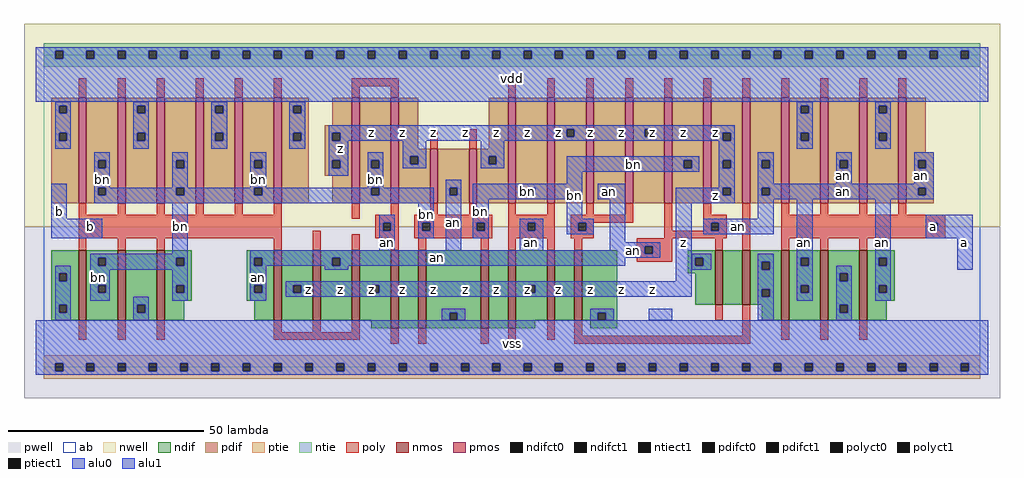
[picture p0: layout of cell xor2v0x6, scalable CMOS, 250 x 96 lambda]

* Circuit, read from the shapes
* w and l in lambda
.subckt xor2v0x6 a an b bn vdd vss z
M1 bn b vss vss nfet w=18 l=2 m=3
M2 z b an vss nfet w=18 l=2 m=3
M3 n1 an z vss nfet w=20 l=2
M4 vss bn n1 vss nfet w=20 l=2
M5 n2 bn vss vss nfet w=20 l=2
M6 z an n2 vss nfet w=20 l=2
M7 n3 an z vss nfet w=18 l=2
M8 vss bn n3 vss nfet w=18 l=2
M9 n4 an z vss nfet w=14 l=2
M10 vss bn n4 vss nfet w=14 l=2
M11 an a vss vss nfet w=18 l=2 m=3
M12 bn b vdd vdd pfet w=27 l=2 m=6
M13 bn an z vdd pfet w=27 l=2 m=6
M14 an bn z vdd pfet w=14 l=2 m=2
M15 an bn z vdd pfet w=27 l=2 m=3
M16 vdd a an vdd pfet w=27 l=2 m=4
.ends

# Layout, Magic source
magic
tech scmos
<< ab >>
rect 0 0 240 80
<< nwell >>
rect -5 36 245 88
<< pwell >>
rect -5 -8 245 36
<< poly >>
rect 9 69 11 74
rect 19 69 21 74
rect 29 69 31 74
rect 39 69 41 74
rect 49 69 51 74
rect 59 69 61 74
rect 79 72 91 74
rect 79 69 81 72
rect 89 69 91 72
rect 119 69 121 74
rect 129 69 131 74
rect 139 69 141 74
rect 149 69 151 74
rect 159 69 161 74
rect 169 69 171 74
rect 179 69 181 74
rect 189 69 191 74
rect 199 69 201 74
rect 209 69 211 74
rect 219 69 221 74
rect 99 56 101 61
rect 109 56 111 61
rect 9 39 11 42
rect 19 39 21 42
rect 29 39 31 42
rect 39 39 41 42
rect 49 39 51 42
rect 59 39 61 42
rect 9 37 61 39
rect 79 38 81 42
rect 89 39 91 42
rect 99 39 101 42
rect 109 39 111 42
rect 119 39 121 42
rect 129 39 131 42
rect 139 39 141 42
rect 149 39 151 42
rect 9 35 11 37
rect 13 35 61 37
rect 85 37 91 39
rect 85 35 87 37
rect 89 35 91 37
rect 9 33 61 35
rect 9 30 11 33
rect 19 30 21 33
rect 29 30 31 33
rect 59 30 61 33
rect 69 30 71 35
rect 79 30 81 34
rect 85 33 91 35
rect 95 37 115 39
rect 95 35 97 37
rect 99 35 111 37
rect 113 35 115 37
rect 95 33 115 35
rect 119 37 131 39
rect 119 35 124 37
rect 126 35 131 37
rect 119 33 131 35
rect 135 37 151 39
rect 135 35 137 37
rect 139 35 141 37
rect 135 33 141 35
rect 159 35 161 42
rect 169 39 171 42
rect 169 37 175 39
rect 169 35 171 37
rect 173 35 175 37
rect 159 33 175 35
rect 89 30 91 33
rect 96 30 98 33
rect 112 30 114 33
rect 119 30 121 33
rect 129 30 131 33
rect 136 30 138 33
rect 152 31 161 33
rect 9 7 11 12
rect 19 7 21 12
rect 29 7 31 12
rect 59 9 61 12
rect 69 9 71 12
rect 79 9 81 12
rect 152 29 154 31
rect 156 29 161 31
rect 172 30 174 33
rect 179 30 181 42
rect 189 39 191 42
rect 199 39 201 42
rect 209 39 211 42
rect 219 39 221 42
rect 189 37 231 39
rect 189 35 227 37
rect 229 35 231 37
rect 189 33 231 35
rect 189 30 191 33
rect 199 30 201 33
rect 209 30 211 33
rect 152 27 161 29
rect 172 12 174 16
rect 59 7 81 9
rect 89 6 91 10
rect 96 6 98 10
rect 112 6 114 10
rect 119 6 121 10
rect 129 7 131 12
rect 136 8 138 12
rect 179 8 181 16
rect 136 6 181 8
rect 189 7 191 12
rect 199 7 201 12
rect 209 7 211 12
<< ndif >>
rect 2 24 9 30
rect 2 22 4 24
rect 6 22 9 24
rect 2 16 9 22
rect 2 14 4 16
rect 6 14 9 16
rect 2 12 9 14
rect 11 28 19 30
rect 11 26 14 28
rect 16 26 19 28
rect 11 21 19 26
rect 11 19 14 21
rect 16 19 19 21
rect 11 12 19 19
rect 21 16 29 30
rect 21 14 24 16
rect 26 14 29 16
rect 21 12 29 14
rect 31 28 38 30
rect 31 26 34 28
rect 36 26 38 28
rect 31 21 38 26
rect 31 19 34 21
rect 36 19 38 21
rect 31 17 38 19
rect 52 28 59 30
rect 52 26 54 28
rect 56 26 59 28
rect 52 21 59 26
rect 52 19 54 21
rect 56 19 59 21
rect 52 17 59 19
rect 31 12 36 17
rect 54 12 59 17
rect 61 21 69 30
rect 61 19 64 21
rect 66 19 69 21
rect 61 12 69 19
rect 71 28 79 30
rect 71 26 74 28
rect 76 26 79 28
rect 71 12 79 26
rect 81 21 89 30
rect 81 19 84 21
rect 86 19 89 21
rect 81 12 89 19
rect 84 10 89 12
rect 91 10 96 30
rect 98 14 112 30
rect 98 12 104 14
rect 106 12 112 14
rect 98 10 112 12
rect 114 10 119 30
rect 121 21 129 30
rect 121 19 124 21
rect 126 19 129 21
rect 121 12 129 19
rect 131 12 136 30
rect 138 14 147 30
rect 165 28 172 30
rect 165 26 167 28
rect 169 26 172 28
rect 165 24 172 26
rect 167 16 172 24
rect 174 16 179 30
rect 181 27 189 30
rect 181 25 184 27
rect 186 25 189 27
rect 181 20 189 25
rect 181 18 184 20
rect 186 18 189 20
rect 181 16 189 18
rect 138 12 142 14
rect 144 12 147 14
rect 121 10 126 12
rect 140 10 147 12
rect 184 12 189 16
rect 191 28 199 30
rect 191 26 194 28
rect 196 26 199 28
rect 191 21 199 26
rect 191 19 194 21
rect 196 19 199 21
rect 191 12 199 19
rect 201 24 209 30
rect 201 22 204 24
rect 206 22 209 24
rect 201 16 209 22
rect 201 14 204 16
rect 206 14 209 16
rect 201 12 209 14
rect 211 28 218 30
rect 211 26 214 28
rect 216 26 218 28
rect 211 21 218 26
rect 211 19 214 21
rect 216 19 218 21
rect 211 17 218 19
rect 211 12 216 17
<< pdif >>
rect 2 67 9 69
rect 2 65 4 67
rect 6 65 9 67
rect 2 60 9 65
rect 2 58 4 60
rect 6 58 9 60
rect 2 42 9 58
rect 11 53 19 69
rect 11 51 14 53
rect 16 51 19 53
rect 11 46 19 51
rect 11 44 14 46
rect 16 44 19 46
rect 11 42 19 44
rect 21 67 29 69
rect 21 65 24 67
rect 26 65 29 67
rect 21 60 29 65
rect 21 58 24 60
rect 26 58 29 60
rect 21 42 29 58
rect 31 53 39 69
rect 31 51 34 53
rect 36 51 39 53
rect 31 46 39 51
rect 31 44 34 46
rect 36 44 39 46
rect 31 42 39 44
rect 41 67 49 69
rect 41 65 44 67
rect 46 65 49 67
rect 41 60 49 65
rect 41 58 44 60
rect 46 58 49 60
rect 41 42 49 58
rect 51 53 59 69
rect 51 51 54 53
rect 56 51 59 53
rect 51 46 59 51
rect 51 44 54 46
rect 56 44 59 46
rect 51 42 59 44
rect 61 67 68 69
rect 61 65 64 67
rect 66 65 68 67
rect 61 60 68 65
rect 74 62 79 69
rect 61 58 64 60
rect 66 58 68 60
rect 61 42 68 58
rect 72 60 79 62
rect 72 58 74 60
rect 76 58 79 60
rect 72 53 79 58
rect 72 51 74 53
rect 76 51 79 53
rect 72 49 79 51
rect 74 42 79 49
rect 81 53 89 69
rect 81 51 84 53
rect 86 51 89 53
rect 81 46 89 51
rect 81 44 84 46
rect 86 44 89 46
rect 81 42 89 44
rect 91 56 96 69
rect 114 56 119 69
rect 91 54 99 56
rect 91 52 94 54
rect 96 52 99 54
rect 91 42 99 52
rect 101 46 109 56
rect 101 44 104 46
rect 106 44 109 46
rect 101 42 109 44
rect 111 54 119 56
rect 111 52 114 54
rect 116 52 119 54
rect 111 42 119 52
rect 121 46 129 69
rect 121 44 124 46
rect 126 44 129 46
rect 121 42 129 44
rect 131 61 139 69
rect 131 59 134 61
rect 136 59 139 61
rect 131 42 139 59
rect 141 46 149 69
rect 141 44 144 46
rect 146 44 149 46
rect 141 42 149 44
rect 151 61 159 69
rect 151 59 154 61
rect 156 59 159 61
rect 151 42 159 59
rect 161 53 169 69
rect 161 51 164 53
rect 166 51 169 53
rect 161 42 169 51
rect 171 60 179 69
rect 171 58 174 60
rect 176 58 179 60
rect 171 53 179 58
rect 171 51 174 53
rect 176 51 179 53
rect 171 46 179 51
rect 171 44 174 46
rect 176 44 179 46
rect 171 42 179 44
rect 181 53 189 69
rect 181 51 184 53
rect 186 51 189 53
rect 181 46 189 51
rect 181 44 184 46
rect 186 44 189 46
rect 181 42 189 44
rect 191 67 199 69
rect 191 65 194 67
rect 196 65 199 67
rect 191 60 199 65
rect 191 58 194 60
rect 196 58 199 60
rect 191 42 199 58
rect 201 53 209 69
rect 201 51 204 53
rect 206 51 209 53
rect 201 46 209 51
rect 201 44 204 46
rect 206 44 209 46
rect 201 42 209 44
rect 211 67 219 69
rect 211 65 214 67
rect 216 65 219 67
rect 211 60 219 65
rect 211 58 214 60
rect 216 58 219 60
rect 211 42 219 58
rect 221 55 226 69
rect 221 53 228 55
rect 221 51 224 53
rect 226 51 228 53
rect 221 46 228 51
rect 221 44 224 46
rect 226 44 228 46
rect 221 42 228 44
<< alu1 >>
rect -2 81 242 82
rect -2 79 3 81
rect 5 79 11 81
rect 13 79 19 81
rect 21 79 27 81
rect 29 79 35 81
rect 37 79 43 81
rect 45 79 51 81
rect 53 79 59 81
rect 61 79 67 81
rect 69 79 75 81
rect 77 79 83 81
rect 85 79 91 81
rect 93 79 99 81
rect 101 79 107 81
rect 109 79 115 81
rect 117 79 123 81
rect 125 79 131 81
rect 133 79 139 81
rect 141 79 147 81
rect 149 79 155 81
rect 157 79 163 81
rect 165 79 171 81
rect 173 79 179 81
rect 181 79 187 81
rect 189 79 195 81
rect 197 79 203 81
rect 205 79 211 81
rect 213 79 219 81
rect 221 79 227 81
rect 229 79 235 81
rect 237 79 242 81
rect -2 68 242 79
rect 73 61 177 62
rect 73 60 134 61
rect 73 58 74 60
rect 76 59 134 60
rect 136 59 154 61
rect 156 60 177 61
rect 156 59 174 60
rect 76 58 174 59
rect 176 58 177 60
rect 2 38 6 47
rect 73 53 78 58
rect 73 51 74 53
rect 76 51 78 53
rect 73 49 78 51
rect 92 54 98 58
rect 92 52 94 54
rect 96 52 98 54
rect 92 51 98 52
rect 112 54 118 58
rect 112 52 114 54
rect 116 52 118 54
rect 112 51 118 52
rect 173 53 177 58
rect 173 51 174 53
rect 176 51 177 53
rect 2 37 15 38
rect 2 35 11 37
rect 13 35 15 37
rect 2 33 15 35
rect 173 46 177 51
rect 162 44 174 46
rect 176 44 177 46
rect 162 42 177 44
rect 162 22 166 42
rect 62 21 166 22
rect 62 19 64 21
rect 66 19 84 21
rect 86 19 124 21
rect 126 19 166 21
rect 62 18 166 19
rect 226 37 238 39
rect 226 35 227 37
rect 229 35 238 37
rect 226 33 238 35
rect 234 25 238 33
rect -2 1 242 12
rect -2 -1 3 1
rect 5 -1 11 1
rect 13 -1 19 1
rect 21 -1 27 1
rect 29 -1 35 1
rect 37 -1 43 1
rect 45 -1 51 1
rect 53 -1 59 1
rect 61 -1 67 1
rect 69 -1 75 1
rect 77 -1 83 1
rect 85 -1 91 1
rect 93 -1 99 1
rect 101 -1 107 1
rect 109 -1 115 1
rect 117 -1 123 1
rect 125 -1 131 1
rect 133 -1 139 1
rect 141 -1 147 1
rect 149 -1 155 1
rect 157 -1 163 1
rect 165 -1 171 1
rect 173 -1 179 1
rect 181 -1 187 1
rect 189 -1 195 1
rect 197 -1 203 1
rect 205 -1 211 1
rect 213 -1 219 1
rect 221 -1 227 1
rect 229 -1 235 1
rect 237 -1 242 1
rect -2 -2 242 -1
<< ptie >>
rect 0 1 240 3
rect 0 -1 3 1
rect 5 -1 11 1
rect 13 -1 19 1
rect 21 -1 27 1
rect 29 -1 35 1
rect 37 -1 43 1
rect 45 -1 51 1
rect 53 -1 59 1
rect 61 -1 67 1
rect 69 -1 75 1
rect 77 -1 83 1
rect 85 -1 91 1
rect 93 -1 99 1
rect 101 -1 107 1
rect 109 -1 115 1
rect 117 -1 123 1
rect 125 -1 131 1
rect 133 -1 139 1
rect 141 -1 147 1
rect 149 -1 155 1
rect 157 -1 163 1
rect 165 -1 171 1
rect 173 -1 179 1
rect 181 -1 187 1
rect 189 -1 195 1
rect 197 -1 203 1
rect 205 -1 211 1
rect 213 -1 219 1
rect 221 -1 227 1
rect 229 -1 235 1
rect 237 -1 240 1
rect 0 -3 240 -1
<< ntie >>
rect 0 81 240 83
rect 0 79 3 81
rect 5 79 11 81
rect 13 79 19 81
rect 21 79 27 81
rect 29 79 35 81
rect 37 79 43 81
rect 45 79 51 81
rect 53 79 59 81
rect 61 79 67 81
rect 69 79 75 81
rect 77 79 83 81
rect 85 79 91 81
rect 93 79 99 81
rect 101 79 107 81
rect 109 79 115 81
rect 117 79 123 81
rect 125 79 131 81
rect 133 79 139 81
rect 141 79 147 81
rect 149 79 155 81
rect 157 79 163 81
rect 165 79 171 81
rect 173 79 179 81
rect 181 79 187 81
rect 189 79 195 81
rect 197 79 203 81
rect 205 79 211 81
rect 213 79 219 81
rect 221 79 227 81
rect 229 79 235 81
rect 237 79 240 81
rect 0 77 240 79
<< nmos >>
rect 9 12 11 30
rect 19 12 21 30
rect 29 12 31 30
rect 59 12 61 30
rect 69 12 71 30
rect 79 12 81 30
rect 89 10 91 30
rect 96 10 98 30
rect 112 10 114 30
rect 119 10 121 30
rect 129 12 131 30
rect 136 12 138 30
rect 172 16 174 30
rect 179 16 181 30
rect 189 12 191 30
rect 199 12 201 30
rect 209 12 211 30
<< pmos >>
rect 9 42 11 69
rect 19 42 21 69
rect 29 42 31 69
rect 39 42 41 69
rect 49 42 51 69
rect 59 42 61 69
rect 79 42 81 69
rect 89 42 91 69
rect 99 42 101 56
rect 109 42 111 56
rect 119 42 121 69
rect 129 42 131 69
rect 139 42 141 69
rect 149 42 151 69
rect 159 42 161 69
rect 169 42 171 69
rect 179 42 181 69
rect 189 42 191 69
rect 199 42 201 69
rect 209 42 211 69
rect 219 42 221 69
<< polyct0 >>
rect 87 35 89 37
rect 97 35 99 37
rect 111 35 113 37
rect 124 35 126 37
rect 137 35 139 37
rect 171 35 173 37
rect 154 29 156 31
<< polyct1 >>
rect 11 35 13 37
rect 227 35 229 37
<< ndifct0 >>
rect 4 22 6 24
rect 4 14 6 16
rect 14 26 16 28
rect 14 19 16 21
rect 24 14 26 16
rect 34 26 36 28
rect 34 19 36 21
rect 54 26 56 28
rect 54 19 56 21
rect 74 26 76 28
rect 104 12 106 14
rect 167 26 169 28
rect 184 25 186 27
rect 184 18 186 20
rect 142 12 144 14
rect 194 26 196 28
rect 194 19 196 21
rect 204 22 206 24
rect 204 14 206 16
rect 214 26 216 28
rect 214 19 216 21
<< ndifct1 >>
rect 64 19 66 21
rect 84 19 86 21
rect 124 19 126 21
<< ntiect1 >>
rect 3 79 5 81
rect 11 79 13 81
rect 19 79 21 81
rect 27 79 29 81
rect 35 79 37 81
rect 43 79 45 81
rect 51 79 53 81
rect 59 79 61 81
rect 67 79 69 81
rect 75 79 77 81
rect 83 79 85 81
rect 91 79 93 81
rect 99 79 101 81
rect 107 79 109 81
rect 115 79 117 81
rect 123 79 125 81
rect 131 79 133 81
rect 139 79 141 81
rect 147 79 149 81
rect 155 79 157 81
rect 163 79 165 81
rect 171 79 173 81
rect 179 79 181 81
rect 187 79 189 81
rect 195 79 197 81
rect 203 79 205 81
rect 211 79 213 81
rect 219 79 221 81
rect 227 79 229 81
rect 235 79 237 81
<< ptiect1 >>
rect 3 -1 5 1
rect 11 -1 13 1
rect 19 -1 21 1
rect 27 -1 29 1
rect 35 -1 37 1
rect 43 -1 45 1
rect 51 -1 53 1
rect 59 -1 61 1
rect 67 -1 69 1
rect 75 -1 77 1
rect 83 -1 85 1
rect 91 -1 93 1
rect 99 -1 101 1
rect 107 -1 109 1
rect 115 -1 117 1
rect 123 -1 125 1
rect 131 -1 133 1
rect 139 -1 141 1
rect 147 -1 149 1
rect 155 -1 157 1
rect 163 -1 165 1
rect 171 -1 173 1
rect 179 -1 181 1
rect 187 -1 189 1
rect 195 -1 197 1
rect 203 -1 205 1
rect 211 -1 213 1
rect 219 -1 221 1
rect 227 -1 229 1
rect 235 -1 237 1
<< pdifct0 >>
rect 4 65 6 67
rect 4 58 6 60
rect 14 51 16 53
rect 14 44 16 46
rect 24 65 26 67
rect 24 58 26 60
rect 34 51 36 53
rect 34 44 36 46
rect 44 65 46 67
rect 44 58 46 60
rect 54 51 56 53
rect 54 44 56 46
rect 64 65 66 67
rect 64 58 66 60
rect 84 51 86 53
rect 84 44 86 46
rect 104 44 106 46
rect 124 44 126 46
rect 144 44 146 46
rect 164 51 166 53
rect 184 51 186 53
rect 184 44 186 46
rect 194 65 196 67
rect 194 58 196 60
rect 204 51 206 53
rect 204 44 206 46
rect 214 65 216 67
rect 214 58 216 60
rect 224 51 226 53
rect 224 44 226 46
<< pdifct1 >>
rect 74 58 76 60
rect 74 51 76 53
rect 94 52 96 54
rect 114 52 116 54
rect 134 59 136 61
rect 154 59 156 61
rect 174 58 176 60
rect 174 51 176 53
rect 174 44 176 46
<< alu0 >>
rect 3 67 7 68
rect 3 65 4 67
rect 6 65 7 67
rect 3 60 7 65
rect 3 58 4 60
rect 6 58 7 60
rect 3 56 7 58
rect 23 67 27 68
rect 23 65 24 67
rect 26 65 27 67
rect 23 60 27 65
rect 23 58 24 60
rect 26 58 27 60
rect 23 56 27 58
rect 43 67 47 68
rect 43 65 44 67
rect 46 65 47 67
rect 43 60 47 65
rect 43 58 44 60
rect 46 58 47 60
rect 43 56 47 58
rect 63 67 67 68
rect 63 65 64 67
rect 66 65 67 67
rect 63 60 67 65
rect 193 67 197 68
rect 193 65 194 67
rect 196 65 197 67
rect 63 58 64 60
rect 66 58 67 60
rect 63 56 67 58
rect 13 53 17 55
rect 13 51 14 53
rect 16 51 17 53
rect 13 46 17 51
rect 33 53 37 55
rect 33 51 34 53
rect 36 51 37 53
rect 33 46 37 51
rect 53 53 57 55
rect 53 51 54 53
rect 56 51 57 53
rect 53 46 57 51
rect 83 53 87 55
rect 83 51 84 53
rect 86 51 87 53
rect 134 53 168 54
rect 134 51 164 53
rect 166 51 168 53
rect 83 46 87 51
rect 134 50 168 51
rect 193 60 197 65
rect 193 58 194 60
rect 196 58 197 60
rect 193 56 197 58
rect 213 67 217 68
rect 213 65 214 67
rect 216 65 217 67
rect 213 60 217 65
rect 213 58 214 60
rect 216 58 217 60
rect 213 56 217 58
rect 103 46 107 48
rect 134 47 138 50
rect 13 44 14 46
rect 16 44 34 46
rect 36 44 54 46
rect 56 44 84 46
rect 86 44 100 46
rect 13 42 100 44
rect 33 29 37 42
rect 86 37 90 39
rect 86 35 87 37
rect 89 35 90 37
rect 86 30 90 35
rect 96 37 100 42
rect 96 35 97 37
rect 99 35 100 37
rect 96 33 100 35
rect 103 44 104 46
rect 106 44 107 46
rect 103 30 107 44
rect 110 46 138 47
rect 110 44 124 46
rect 126 44 138 46
rect 110 43 138 44
rect 142 46 149 47
rect 142 44 144 46
rect 146 44 149 46
rect 142 43 149 44
rect 110 37 114 43
rect 134 38 138 43
rect 110 35 111 37
rect 113 35 114 37
rect 110 33 114 35
rect 122 37 128 38
rect 122 35 124 37
rect 126 35 128 37
rect 122 30 128 35
rect 134 37 141 38
rect 134 35 137 37
rect 139 35 141 37
rect 134 34 141 35
rect 145 32 149 43
rect 183 53 187 55
rect 183 51 184 53
rect 186 51 187 53
rect 183 47 187 51
rect 203 53 207 55
rect 203 51 204 53
rect 206 51 207 53
rect 203 47 207 51
rect 223 53 228 55
rect 223 51 224 53
rect 226 51 228 53
rect 223 47 228 51
rect 183 46 228 47
rect 183 44 184 46
rect 186 44 204 46
rect 206 44 224 46
rect 226 44 228 46
rect 183 43 228 44
rect 145 31 158 32
rect 145 30 154 31
rect 12 28 37 29
rect 12 26 14 28
rect 16 26 34 28
rect 36 26 37 28
rect 3 24 7 26
rect 3 22 4 24
rect 6 22 7 24
rect 3 16 7 22
rect 12 25 37 26
rect 12 21 17 25
rect 12 19 14 21
rect 16 19 17 21
rect 12 17 17 19
rect 33 21 37 25
rect 33 19 34 21
rect 36 19 37 21
rect 3 14 4 16
rect 6 14 7 16
rect 3 12 7 14
rect 23 16 27 18
rect 33 17 37 19
rect 53 29 154 30
rect 156 29 158 31
rect 53 28 158 29
rect 53 26 54 28
rect 56 26 74 28
rect 76 26 149 28
rect 53 21 57 26
rect 72 25 78 26
rect 183 38 187 43
rect 169 37 187 38
rect 169 35 171 37
rect 173 35 187 37
rect 169 34 187 35
rect 166 28 171 29
rect 166 26 167 28
rect 169 26 171 28
rect 166 25 171 26
rect 183 27 187 29
rect 183 25 184 27
rect 186 25 187 27
rect 53 19 54 21
rect 56 19 57 21
rect 53 17 57 19
rect 183 20 187 25
rect 183 18 184 20
rect 186 18 187 20
rect 23 14 24 16
rect 26 14 27 16
rect 23 12 27 14
rect 102 14 108 15
rect 102 12 104 14
rect 106 12 108 14
rect 140 14 146 15
rect 140 12 142 14
rect 144 12 146 14
rect 155 12 161 15
rect 183 12 187 18
rect 193 28 197 43
rect 193 26 194 28
rect 196 26 197 28
rect 213 28 217 43
rect 213 26 214 28
rect 216 26 217 28
rect 193 21 197 26
rect 193 19 194 21
rect 196 19 197 21
rect 193 17 197 19
rect 203 24 207 26
rect 203 22 204 24
rect 206 22 207 24
rect 203 16 207 22
rect 213 21 217 26
rect 213 19 214 21
rect 216 19 217 21
rect 213 17 217 19
rect 203 14 204 16
rect 206 14 207 16
rect 203 12 207 14
<< labels >>
rlabel alu0 14 23 14 23 6 bn
rlabel alu0 15 48 15 48 6 bn
rlabel alu0 35 36 35 36 6 bn
rlabel alu0 55 23 55 23 6 an
rlabel alu0 88 32 88 32 6 an
rlabel alu0 85 48 85 48 6 bn
rlabel alu0 55 48 55 48 6 bn
rlabel alu0 125 32 125 32 6 an
rlabel alu0 112 40 112 40 6 bn
rlabel alu0 98 39 98 39 6 bn
rlabel alu0 124 45 124 45 6 bn
rlabel alu0 136 44 136 44 6 bn
rlabel alu0 105 37 105 37 6 an
rlabel alu0 101 28 101 28 6 an
rlabel alu0 151 30 151 30 6 an
rlabel pdifct0 145 45 145 45 6 an
rlabel alu0 178 36 178 36 6 an
rlabel alu0 151 52 151 52 6 bn
rlabel alu0 215 32 215 32 6 an
rlabel alu0 195 32 195 32 6 an
rlabel pdifct0 205 45 205 45 6 an
rlabel alu0 205 49 205 49 6 an
rlabel alu0 225 49 225 49 6 an
rlabel polyct1 12 36 12 36 6 b
rlabel alu1 4 40 4 40 6 b
rlabel alu1 92 20 92 20 6 z
rlabel alu1 84 20 84 20 6 z
rlabel alu1 76 20 76 20 6 z
rlabel alu1 68 20 68 20 6 z
rlabel alu1 92 60 92 60 6 z
rlabel alu1 84 60 84 60 6 z
rlabel alu1 76 56 76 56 6 z
rlabel alu1 120 6 120 6 6 vss
rlabel alu1 100 20 100 20 6 z
rlabel alu1 108 20 108 20 6 z
rlabel alu1 116 20 116 20 6 z
rlabel alu1 124 20 124 20 6 z
rlabel alu1 132 20 132 20 6 z
rlabel alu1 140 20 140 20 6 z
rlabel alu1 140 60 140 60 6 z
rlabel alu1 132 60 132 60 6 z
rlabel alu1 124 60 124 60 6 z
rlabel alu1 116 60 116 60 6 z
rlabel alu1 108 60 108 60 6 z
rlabel alu1 100 60 100 60 6 z
rlabel alu1 120 74 120 74 6 vdd
rlabel alu1 148 20 148 20 6 z
rlabel alu1 156 20 156 20 6 z
rlabel alu1 164 32 164 32 6 z
rlabel alu1 172 44 172 44 6 z
rlabel alu1 148 60 148 60 6 z
rlabel alu1 172 60 172 60 6 z
rlabel alu1 164 60 164 60 6 z
rlabel alu1 156 60 156 60 6 z
rlabel alu1 236 32 236 32 6 a
rlabel polyct1 228 36 228 36 6 a
<< end >>
